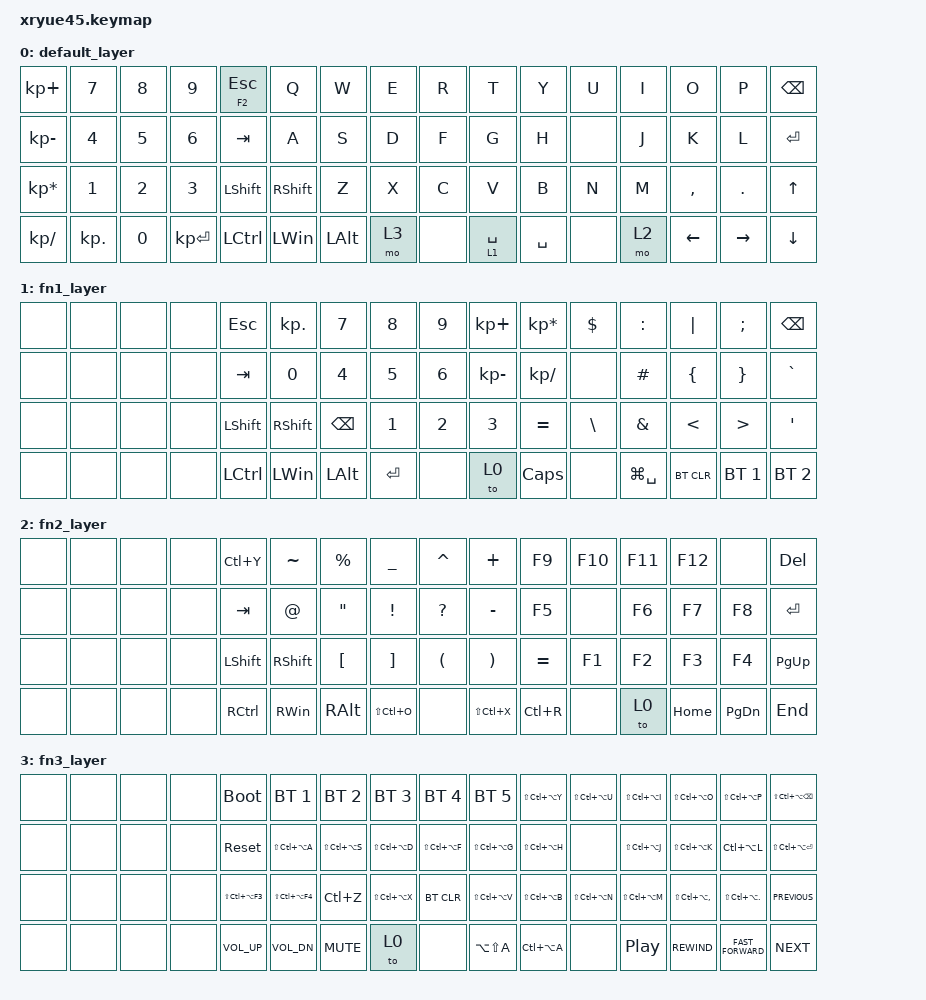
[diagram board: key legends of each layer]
/*
 * Copyright (c) 2020 The ZMK Contributors
 *
 * SPDX-License-Identifier: MIT
 */

#include <behaviors.dtsi>
#include <dt-bindings/zmk/keys.h>
#include <dt-bindings/zmk/rgb.h>
#include <dt-bindings/zmk/bt.h>
#include <dt-bindings/zmk/outputs.h>
#include <dt-bindings/zmk/ext_power.h>
#include <dt-bindings/zmk/mouse.h>

/ {
	keymap0: keymap {
		compatible = "zmk,keymap";

		default_layer {
            bindings = <
            &kp KP_PLUS      &kp N7     &kp N8    &kp N9       &mt F2 ESC   &kp Q     &kp W     &kp E               &kp R        &kp T        &kp Y       &kp U               &kp I     &kp O      &kp P      &kp BSPC
            &kp KP_MINUS     &kp N4     &kp N5    &kp N6       &kp TAB   &kp A     &kp S     &kp D               &kp F        &kp G        &kp H       &none               &kp J     &kp K      &kp L      &kp ENTER 
            &kp KP_MULTIPLY  &kp N1     &kp N2    &kp N3       &kp LSHFT &kp RSHFT &kp Z     &kp X               &kp C        &kp V        &kp B       &kp N               &kp M     &kp COMMA  &kp DOT    &kp UP
            &kp KP_SLASH     &kp KP_DOT &kp N0    &kp KP_ENTER &kp LCTRL &kp LWIN  &kp LALT  &mo 3               &none        &lt 1 SPACE  &kp SPACE   &none               &mo 2     &kp LEFT   &kp RIGHT  &kp DOWN    
            >;
		};

		fn1_layer {
            bindings = <
            &none   &none   &none   &none   &kp ESC   &kp KP_DOT &kp N7    &kp N8             &kp N9  &kp KP_PLUS   &kp KP_MULTIPLY  &kp DLLR           &kp COLON     &kp PIPE     &kp SEMI     &kp BSPC
            &none   &none   &none   &none   &kp TAB   &kp N0     &kp N4    &kp N5             &kp N6  &kp KP_MINUS  &kp KP_SLASH     &none              &kp HASH      &kp LBRC     &kp RBRC      &kp GRAVE  
            &none   &none   &none   &none   &kp LSHFT &kp RSHFT  &kp BSPC  &kp N1             &kp N2  &kp N3        &kp EQUAL        &kp BSLH           &kp AMPS      &kp LT       &kp GT        &kp SQT
            &none   &none   &none   &none   &kp LCTRL &kp LWIN   &kp LALT  &kp ENTER          &none   &to 0         &kp CAPS         &none              &kp LG(SPACE) &bt BT_CLR   &bt BT_SEL 1  &bt BT_SEL 2
             >;
		};

		fn2_layer {
            bindings = <
            &none   &none   &none   &none   &kp LC(Y)  &kp TILDE  &kp PRCNT &kp UNDER         &kp CARET    &kp PLUS       &kp F9     &kp F10            &kp F11    &kp F12   &none      &kp DEL
            &none   &none   &none   &none   &kp TAB    &kp AT     &kp DQT   &kp EXCL          &kp QMARK    &kp MINUS      &kp F5     &none              &kp F6     &kp F7    &kp F8     &kp ENTER
            &none   &none   &none   &none   &kp LSHFT  &kp RSHFT  &kp LBKT  &kp RBKT          &kp LPAR     &kp RPAR       &kp EQUAL  &kp F1             &kp F2     &kp F3    &kp F4     &kp PG_UP  
            &none   &none   &none   &none   &kp RCTRL  &kp RWIN   &kp RALT  &kp LS(LC(O))     &none        &kp LS(LC(X))  &kp LC(R)  &none              &to 0      &kp HOME  &kp PG_DN  &kp END
            >;
		};

		fn3_layer {
            bindings = <
            &none   &none   &none   &none   &bootloader         &bt BT_SEL 1  &bt BT_SEL 2  &bt BT_SEL 3      &bt BT_SEL 4  &bt BT_SEL 5   &kp LS(LC(LA(Y)))  &kp LS(LC(LA(U)))       &kp LS(LC(LA(I)))  &kp LS(LC(LA(O)))     &kp LS(LC(LA(P)))     &kp LS(LC(LA(BSPC)))   
            &none   &none   &none   &none   &sys_reset          &kp LS(LC(LA(A)))  &kp LS(LC(LA(S)))  &kp LS(LC(LA(D)))      &kp LS(LC(LA(F)))  &kp LS(LC(LA(G)))   &kp LS(LC(LA(H)))  &none                   &kp LS(LC(LA(J)))  &kp LS(LC(LA(K)))     &kp LC(LA(L))     &kp LS(LC(LA(ENTER)))     
            &none   &none   &none   &none   &kp LS(LC(LA(F3)))  &kp LS(LC(LA(F4))) &kp LC(Z)  &kp LS(LC(LA(X)))      &bt BT_CLR  &kp LS(LC(LA(V)))   &kp LS(LC(LA(B)))  &kp LS(LC(LA(N)))       &kp LS(LC(LA(M)))  &kp LS(LC(LA(COMMA))) &kp LS(LC(LA(DOT)))   &kp C_PREVIOUS   
            &none   &none   &none   &none   &kp C_VOL_UP          &kp C_VOL_DN       &kp C_MUTE       &to 0                  &none              &kp LA(LS(A))            &kp LC(LA(A))         &none                   &kp C_PP         &kp C_REWIND            &kp C_FAST_FORWARD          &kp C_NEXT    
            >;
		};
	};
};
